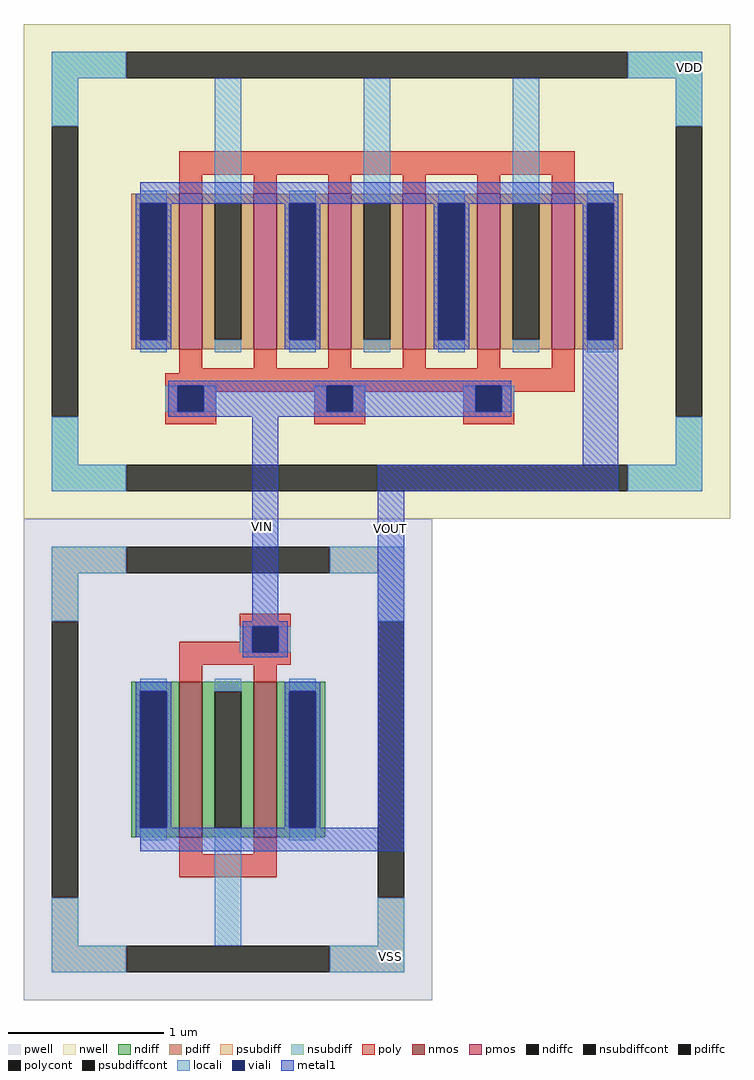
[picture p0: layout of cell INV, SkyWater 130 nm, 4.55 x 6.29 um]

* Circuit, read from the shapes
.subckt INV VIN VOUT VDD VSS
XM1 VSS VIN VOUT VSS sky130_fd_pr__nfet_01v8 w=1 l=0.15 m=2
XM2 VDD VIN VOUT VDD sky130_fd_pr__pfet_01v8 w=1 l=0.15 m=6
.ends

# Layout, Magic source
magic
tech sky130A
magscale 1 2
<< nwell >>
rect 1366 442 2276 1080
<< pwell >>
rect 1366 -178 1892 442
<< nmos >>
rect 1566 32 1596 232
rect 1662 32 1692 232
<< pmos >>
rect 1566 661 1596 861
rect 1662 661 1692 861
rect 1758 661 1788 861
rect 1854 661 1884 861
rect 1950 661 1980 861
rect 2046 661 2076 861
<< ndiff >>
rect 1504 220 1566 232
rect 1504 44 1516 220
rect 1550 44 1566 220
rect 1504 32 1566 44
rect 1596 220 1662 232
rect 1596 44 1612 220
rect 1646 44 1662 220
rect 1596 32 1662 44
rect 1692 220 1754 232
rect 1692 44 1708 220
rect 1742 44 1754 220
rect 1692 32 1754 44
<< pdiff >>
rect 1504 849 1566 861
rect 1504 673 1516 849
rect 1550 673 1566 849
rect 1504 661 1566 673
rect 1596 849 1662 861
rect 1596 673 1612 849
rect 1646 673 1662 849
rect 1596 661 1662 673
rect 1692 849 1758 861
rect 1692 673 1708 849
rect 1742 673 1758 849
rect 1692 661 1758 673
rect 1788 849 1854 861
rect 1788 673 1804 849
rect 1838 673 1854 849
rect 1788 661 1854 673
rect 1884 849 1950 861
rect 1884 673 1900 849
rect 1934 673 1950 849
rect 1884 661 1950 673
rect 1980 849 2046 861
rect 1980 673 1996 849
rect 2030 673 2046 849
rect 1980 661 2046 673
rect 2076 849 2138 861
rect 2076 673 2092 849
rect 2126 673 2138 849
rect 2076 661 2138 673
<< ndiffc >>
rect 1516 44 1550 220
rect 1612 44 1646 220
rect 1708 44 1742 220
<< pdiffc >>
rect 1516 673 1550 849
rect 1612 673 1646 849
rect 1708 673 1742 849
rect 1804 673 1838 849
rect 1900 673 1934 849
rect 1996 673 2030 849
rect 2092 673 2126 849
<< psubdiff >>
rect 1402 372 1498 406
rect 1760 372 1856 406
rect 1402 310 1436 372
rect 1822 310 1856 372
rect 1402 -108 1436 -46
rect 1822 -108 1856 -46
rect 1402 -142 1498 -108
rect 1760 -142 1856 -108
<< nsubdiff >>
rect 1402 1010 1498 1044
rect 2144 1010 2240 1044
rect 1402 948 1436 1010
rect 2206 948 2240 1010
rect 1402 512 1436 574
rect 2206 512 2240 574
rect 1402 478 1498 512
rect 2144 478 2240 512
<< psubdiffcont >>
rect 1498 372 1760 406
rect 1402 -46 1436 310
rect 1822 -46 1856 310
rect 1498 -142 1760 -108
<< nsubdiffcont >>
rect 1498 1010 2144 1044
rect 1402 574 1436 948
rect 2206 574 2240 948
rect 1498 478 2144 512
<< poly >>
rect 1566 886 2076 916
rect 1566 861 1596 886
rect 1662 861 1692 886
rect 1758 861 1788 886
rect 1854 861 1884 886
rect 1950 861 1980 886
rect 2046 861 2076 886
rect 1566 636 1596 661
rect 1662 636 1692 661
rect 1758 636 1788 661
rect 1854 636 1884 661
rect 1950 636 1980 661
rect 2046 636 2076 661
rect 1566 630 2076 636
rect 1548 614 2076 630
rect 1548 580 1564 614
rect 1598 606 1756 614
rect 1598 580 1614 606
rect 1548 564 1614 580
rect 1740 580 1756 606
rect 1790 606 1948 614
rect 1790 580 1806 606
rect 1740 564 1806 580
rect 1932 580 1948 606
rect 1982 606 2076 614
rect 1982 580 1998 606
rect 1932 564 1998 580
rect 1644 304 1710 320
rect 1644 284 1660 304
rect 1566 270 1660 284
rect 1694 270 1710 304
rect 1566 254 1710 270
rect 1566 232 1596 254
rect 1662 232 1692 254
rect 1566 10 1596 32
rect 1662 10 1692 32
rect 1566 -20 1692 10
<< polycont >>
rect 1564 580 1598 614
rect 1756 580 1790 614
rect 1948 580 1982 614
rect 1660 270 1694 304
<< locali >>
rect 1402 1010 1498 1044
rect 2144 1010 2240 1044
rect 1402 948 1436 1010
rect 1516 849 1550 865
rect 1516 657 1550 673
rect 1612 849 1646 1010
rect 1612 657 1646 673
rect 1708 849 1742 865
rect 1708 657 1742 673
rect 1804 849 1838 1010
rect 1804 657 1838 673
rect 1900 849 1934 865
rect 1900 657 1934 673
rect 1996 849 2030 1010
rect 2206 948 2240 1010
rect 1996 657 2030 673
rect 2092 849 2126 865
rect 2092 657 2126 673
rect 1548 580 1564 614
rect 1598 580 1614 614
rect 1740 580 1756 614
rect 1790 580 1806 614
rect 1932 580 1948 614
rect 1982 580 1998 614
rect 1402 512 1436 574
rect 2206 512 2240 574
rect 1402 478 1498 512
rect 2144 478 2240 512
rect 1402 372 1498 406
rect 1760 372 1856 406
rect 1402 310 1436 372
rect 1822 310 1856 372
rect 1644 270 1660 304
rect 1694 270 1710 304
rect 1516 220 1550 236
rect 1516 28 1550 44
rect 1612 220 1646 236
rect 1402 -108 1436 -46
rect 1612 -108 1646 44
rect 1708 220 1742 236
rect 1708 28 1742 44
rect 1822 -108 1856 -46
rect 1402 -142 1498 -108
rect 1760 -142 1856 -108
<< viali >>
rect 1516 673 1550 849
rect 1708 673 1742 849
rect 1900 673 1934 849
rect 2092 673 2126 849
rect 1564 580 1598 614
rect 1756 580 1790 614
rect 1948 580 1982 614
rect 1660 270 1694 304
rect 1516 44 1550 220
rect 1708 44 1742 220
<< metal1 >>
rect 1516 861 2126 876
rect 1510 849 2132 861
rect 1510 673 1516 849
rect 1550 848 1708 849
rect 1550 673 1556 848
rect 1510 661 1556 673
rect 1702 673 1708 848
rect 1742 848 1900 849
rect 1742 673 1748 848
rect 1702 661 1748 673
rect 1894 673 1900 848
rect 1934 848 2092 849
rect 1934 673 1940 848
rect 1894 661 1940 673
rect 2086 673 2092 848
rect 2126 673 2132 849
rect 1552 614 1994 620
rect 1552 580 1564 614
rect 1598 580 1756 614
rect 1790 580 1948 614
rect 1982 580 1994 614
rect 1552 574 1994 580
rect 1660 310 1694 574
rect 2086 512 2132 673
rect 1822 478 2132 512
rect 1648 304 1706 310
rect 1648 270 1660 304
rect 1694 270 1706 304
rect 1648 264 1706 270
rect 1510 220 1556 232
rect 1510 44 1516 220
rect 1550 44 1556 220
rect 1702 220 1748 232
rect 1702 44 1708 220
rect 1742 44 1748 220
rect 1822 44 1856 478
rect 1510 32 1856 44
rect 1516 14 1856 32
<< labels >>
rlabel metal1 1674 432 1674 432 7 VIN
port 1 w
rlabel metal1 1838 430 1838 430 7 VOUT
port 2 w
rlabel locali 2224 1024 2224 1024 7 VDD
port 3 w
rlabel locali 1838 -122 1838 -122 7 VSS
port 4 w
<< end >>
